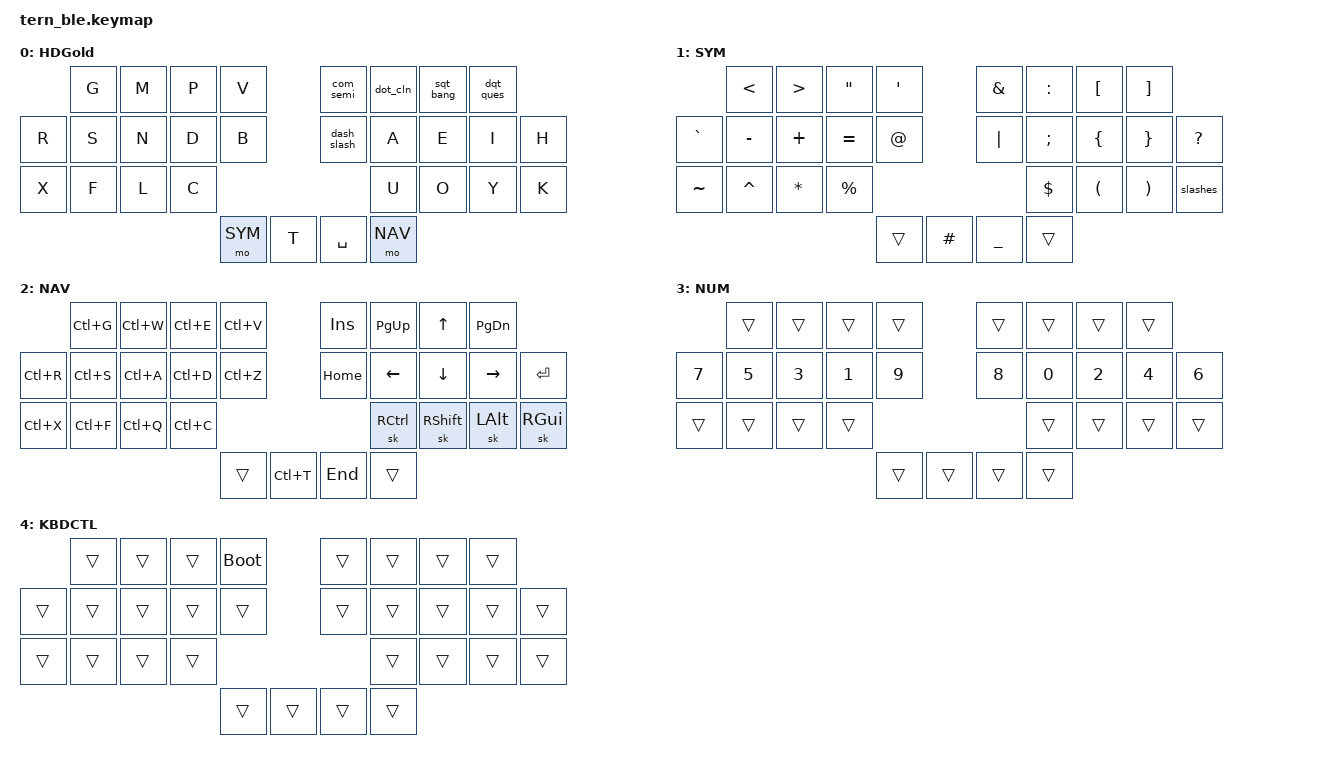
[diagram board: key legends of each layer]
/*
 * Copyright (c) 2024 Allister MacLeod
 *
 * SPDX-License-Identifier: MIT
 */

#include <behaviors.dtsi>
#include <dt-bindings/zmk/keys.h>

#define DEFAULT 0
#define HD_GOLD 0
#define SYM     1
#define NAV     2
#define NUM     3
#define KEEBCTL 4

#include "key-labels-glam/tern.h"
#include "glam-multigraph.dtsi"

// TODO:
// - figure out where to put smart shift or caps word
// - add alt-tab and i3wm shortcuts

/ {
keymap {
  compatible = "zmk,keymap";

  hands_down_layer {
// mostly Hands Down Gold with adjusted punctuation
// Combos for letters: RG->W, XR->Z, UOY->Q, VB->J
// Combos for symbols: ,.->#
// Plus a bunch of digraph and triple combos.
//       ,-----------------------.             ,-----------------------.
// ,-----+  G  |  M  |  P  |  V  |             | , ; | . : | ' ! | " ? +-----.
// |  R  |  S  |  N  |  D  |  B  |             | - / |  A  |  E  |  I  |  H  |
// |  X  |  F  |  L  |  C  +-----'-----. ,-----`-----+  U  |  O  |  Y  |  K  |
// `-----------------------| SYM |  T  | |Space| NAV |-----------------------'
    bindings = <
       &kp G  &kp M  &kp P  &kp V                 &com_semi    &dot_cln  &sqt_bang  &dqt_ques
&kp R  &kp S  &kp N  &kp D  &kp B                 &dash_slash  &kp A     &kp E      &kp I  &kp H
&kp X  &kp F  &kp L  &kp C                                     &kp U     &kp O      &kp Y  &kp K
                            &mo SYM  &kp T   &kp SPACE  &mo NAV
    >;
    display-name = "HDGold";
  };
  symbols_layer {
//       ,-----------------------.             ,-----------------------.
// ,-----+  <  |  >  |  "  |  '  |             |  &  |  :  |  [  |  ]  +-----.
// |  `  |  -  |  +  |  =  |  @  |             |  |  |  ;  |  {  |  }  |  ?  |
// |  ~  |  ^  |  *  |  %  +-----'-----. ,-----`-----+  $  |  (  |  )  | / \ |
// `-----------------------|#####|  #  | |  _  | NUM |-----------------------'
    bindings = <
           &kp LT     &kp GT    &kp DQT      &kp SQT      &kp AMPS  &kp COLON   &kp LBKT  &kp RBKT
&kp GRAVE  &kp MINUS  &kp PLUS  &kp EQUAL    &kp AT       &kp PIPE  &kp SEMI    &kp LBRC  &kp RBRC  &kp QMARK
&kp TILDE  &kp CARET  &kp STAR  &kp PERCENT                         &kp DOLLAR  &kp LPAR  &kp RPAR  &slashes
                                &trans &kp HASH    &kp UNDERSCORE &trans
    >;
    display-name = "SYM";
  };
  navigation_layer {
// I took a few liberties with the control keys on the left middle
// finger, since I find C-w, C-a, and C-q more useful than C-m, C-n,
// and C-l. I figure I can use sticky CTRL or the pinky combo for those.
//       ,-----------------------.             ,-----------------------.
// ,-----+ ^G  | ^W  | ^E  | ^V  |             | Ins | PgU | Up  | PgD +-----.
// | ^R  | ^S  | ^A  | ^D  | ^Z  |             | Home| Left| Down|Right| Ret |
// | ^X  | ^F  | ^Q  | ^C  +-----'-----. ,-----`-----+ Ctl |Shift| Alt | GUI |
// `-----------------------| NUM | ^T  | | End |#####|-----------------------'
    bindings = <
           &kp LC(G)  &kp LC(W)  &kp LC(E)  &kp LC(V)       &kp INS   &kp PG_UP  &kp UP     &kp PG_DN
&kp LC(R)  &kp LC(S)  &kp LC(A)  &kp LC(D)  &kp LC(Z)       &kp HOME  &kp LEFT   &kp DOWN   &kp RIGHT  &kp RET
&kp LC(X)  &kp LC(F)  &kp LC(Q)  &kp LC(C)                            &sk RCTRL  &sk RSHFT  &sk LALT   &sk RGUI
                                       &trans &kp LC(T)   &kp END &trans
    >;
    display-name = "NAV";
  };
  numeric_layer {
// Numeric layer activated conditionally when NAV and SYM are active together.
//       ,-----------------------.             ,-----------------------.
// ,-----+     |     |     |     |             |     |     |     |     +-----.
// |  7  |  5  |  3  |  1  |  9  |             |  8  |  0  |  2  |  4  |  6  |
// |     |     |     |     +-----'-----. ,-----`-----+     |     |     |     |
// `-----------------------|     |     | |     |     |-----------------------'
    bindings = <
        &trans  &trans  &trans  &trans                 &trans  &trans  &trans  &trans
&kp N7  &kp N5  &kp N3  &kp N1  &kp N9                 &kp N8  &kp N0  &kp N2  &kp N4  &kp N6
&trans  &trans  &trans  &trans                                 &trans  &trans  &trans  &trans
                                &trans &trans   &trans &trans
    >;
    display-name = "NUM";
  };
  keyboard_control_layer {
//       ,-----------------------.             ,-----------------------.
// ,-----+     |     |     | DFU |             |     |     |     |     +-----.
// |     |     |     |     |     |             |     |     |     |     |     |
// |     |     |     |     +-----'-----. ,-----`-----+     |     |     |     |
// `-----------------------|     |     | |     |     |-----------------------'
    bindings = <
        &trans  &trans  &trans  &bootloader            &trans  &trans  &trans  &trans
&trans  &trans  &trans  &trans  &trans                 &trans  &trans  &trans  &trans  &trans
&trans  &trans  &trans  &trans                                 &trans  &trans  &trans  &trans
                                &trans &trans   &trans &trans
    >;
    display-name = "KBDCTL";
  };
}; // end keymap

behaviors {
  // Symbol morphs for non-conventional shifting.
  slash_hash: morph_solidus_octothorpe {
    compatible = "zmk,behavior-mod-morph";
    #binding-cells = <0>;
    bindings = <&kp FSLH>, <&kp HASH>;
    mods = <(MOD_LSFT|MOD_RSFT)>;
  };
  dash_slash: morph_hyphen_solidus {
    compatible = "zmk,behavior-mod-morph";
    #binding-cells = <0>;
    bindings = <&kp MINUS>, <&kp FSLH>;
    mods = <(MOD_LSFT|MOD_RSFT)>;
  };
  dot_cln: morph_period_colon {
    compatible = "zmk,behavior-mod-morph";
    #binding-cells = <0>;
    bindings = <&kp DOT>, <&kp COLON>;
    mods = <(MOD_LSFT|MOD_RSFT)>;
  };
  sqt_bang: morph_apostrophe_exclamation {
    compatible = "zmk,behavior-mod-morph";
    #binding-cells = <0>;
    bindings = <&kp SQT>, <&kp EXCL>;
    mods = <(MOD_LSFT|MOD_RSFT)>;
  };
  dqt_ques: morph_quote_question {
    compatible = "zmk,behavior-mod-morph";
    #binding-cells = <0>;
    bindings = <&kp DQT>, <&kp QMARK>;
    mods = <(MOD_LSFT|MOD_RSFT)>;
  };
  com_semi: morph_comma_semicolon {
    compatible = "zmk,behavior-mod-morph";
    #binding-cells = <0>;
    bindings = <&kp COMMA>, <&kp SEMICOLON>;
    mods = <(MOD_LSFT|MOD_RSFT)>;
  };
  minus_plus: morph_hyphen_plus {
    compatible = "zmk,behavior-mod-morph";
    #binding-cells = <0>;
    bindings = <&kp MINUS>, <&kp PLUS>;
    mods = <(MOD_LSFT|MOD_RSFT)>;
  };
  slashes: morph_slash_backslash {
    compatible = "zmk,behavior-mod-morph";
    #binding-cells = <0>;
    bindings = <&kp FSLH>, <&kp BSLH>;
    mods = <(MOD_LSFT|MOD_RSFT)>;
  };
}; // end behaviors

//      0   1   2   3             4   5   6   7
//  8   9  10  11  12            13  14  15  16  17
// 18  19  20  21                    22  23  24  25
//                 26  27    28  29

//     LT3 LT2 LT1 LT0          RT0 RT1 RT2 RT3
// LM4 LM3 LM2 LM1 LM0          RM0 RM1 RM2 RM3 RM4
// LB4 LB3 LB2 LB1                  RB1 RB2 RB3 RB4
//                 LH1 LH0  RH0 RH1

combos {
  compatible = "zmk,combos";

  // All four thumb keys for keyboard control layer.
  combo_thumbs_keyboard_control {
    timeout-ms = <50>;
    key-positions = <LH1 LH0 RH0 RH1>;
    bindings = <&tog KEEBCTL>;
  };
  // Vertical combo left pinky for Z.
  combo_left_pinky_zed {
    timeout-ms = <50>;
    key-positions = <LM4 LB4>;
    bindings = <&kp Z>;
    layers = <HD_GOLD>;
  };
  // Left top ring and pinky mid for W.
  combo_northwest_wubbley {
    timeout-ms = <50>;
    key-positions = <LM4 LT3>;
    bindings = <&kp W>;
    layers = <HD_GOLD>;
  };
  // Vertical combo left pinky for exclamation point, only in symbols layer.
  combo_left_pinky_exclamatiom {
    timeout-ms = <50>;
    key-positions = <LM4 LB4>;
    bindings = <&kp EXCL>;
    layers = <SYM>;
  };
  // Vertical combo left index for J.
  combo_left_index_jay {
    timeout-ms = <50>;
    key-positions = <LT0 LM0>;
    bindings = <&kp J>;
    layers = <HD_GOLD>;
  };
  // Right top row inner two keys for pound sign.
  combo_right_northwest_octothorpe {
    timeout-ms = <50>;
    key-positions = <RT0 RT1>;
    bindings = <&kp HASH>;
    layers = <HD_GOLD>;
  };
  // Vertical combo right index for hyphen and plus.
  combo_right_index_minus_plus {
    timeout-ms = <50>;
    key-positions = <RT0 RM0>;
    bindings = <&minus_plus>;
    layers = <HD_GOLD>;
  };
  // Combo U and Y to produce Qu in Hands Down
  combo_uy_qu {
    timeout-ms = <50>;
    key-positions = <RB1 RB3>;
    bindings = <&squ>;
    layers = <HD_GOLD>;
  };
  // Combo U, O, and Y to produce bare Q in Hands Down.
  combo_uoy_q {
    timeout-ms = <50>;
    key-positions = <RB1 RB2 RB3>;
    bindings = <&kp Q>;
    layers = <HD_GOLD>;
  };
  // Combos for H digraphs in Hands Down.
  combo_sn_sh {
    timeout-ms = <50>;
    key-positions = <LM3 LM2>;
    bindings = <&sdh S>;
    layers = <HD_GOLD>;
  };
  combo_sd_ch {
    timeout-ms = <50>;
    key-positions = <LM3 LM1>;
    bindings = <&sdh C>;
    layers = <HD_GOLD>;
  };
  combo_nd_th {
    timeout-ms = <50>;
    key-positions = <LM2 LM1>;
    bindings = <&sdh T>;
    layers = <HD_GOLD>;
  };
  // This one makes less sense in Hands Down Gold, but I might just be used to it from Hands Down Neu.
  combo_gp_wh {
    timeout-ms = <50>;
    key-positions = <LT3 LT1>;
    bindings = <&sdh W>;
    layers = <HD_GOLD>;
  };
  combo_pm_ph {
    timeout-ms = <50>;
    key-positions = <LT2 LT1>;
    bindings = <&sdh P>;
    layers = <HD_GOLD>;
  };
  combo_gm_gh {
    timeout-ms = <50>;
    key-positions = <LT3 LT2>;
    bindings = <&sdh G>;
    layers = <HD_GOLD>;
  };
  // Combos for trigraphs and 3-letter consonant clusters.
  combo_rsn_sch {
    timeout-ms = <50>;
    key-positions = <LM4 LM3 LM2>;
    bindings = <&stch S>;
    layers = <HD_GOLD>;
  };
  combo_snt_tch {
    timeout-ms = <50>;
    key-positions = <LM3 LM2 LM1>;
    bindings = <&stch T>;
    layers = <HD_GOLD>;
  };
  // Another holdover from Hands Down Neu.
  combo_flc_ght {
    timeout-ms = <50>;
    key-positions = <LB3 LB2 LB1>;
    bindings = <&sght>;
    layers = <HD_GOLD>;
  };
  // Left ring and pinky home-row keys for ctrl.
  combo_west_ctrl {
    timeout-ms = <50>;
    key-positions = <LM4 LM3>;
    bindings = <&kp LCTRL>;
  };
  // Left ring and pinky bottom row keys for shift.
  combo_southwest_shift {
    timeout-ms = <50>;
    key-positions = <LB4 LB3>;
    bindings = <&kp LSHFT>;
  };
  // Left pinky and index for escape.
  combo_left_fork_escape {
    timeout-ms = <50>;
    key-positions = <LM4 LM1>;
    bindings = <&kp ESCAPE>;
  };
  // Left pinky and middle for tab.
  combo_left_prong_tab {
    timeout-ms = <50>;
    key-positions = <LM4 LM2>;
    bindings = <&kp TAB>;
  };
  // Right index and middle in top row for delete.
  combo_top_poke_delete {
    timeout-ms = <50>;
    key-positions = <RT1 RT2>;
    bindings = <&kp DELETE>;
  };
  // Right ring and pinky uppermost keys for backspace.
  combo_northeast_backspace {
    timeout-ms = <50>;
    key-positions = <RT3 RM4>;
    bindings = <&kp BACKSPACE>;
  };
  // Right ring and pinky home-row keys for enter.
  combo_east_enter {
    timeout-ms = <50>;
    key-positions = <RM3 RM4>;
    bindings = <&kp ENTER>;
  };
  // Right ring and pinky bottom row keys for shift.
  combo_southeast_shift {
    timeout-ms = <50>;
    key-positions = <RB3 RB4>;
    bindings = <&kp RSHFT>;
  };

}; // end combos

conditional_layers {
  compatible = "zmk,conditional-layers";
  numeric_momentary {
    if-layers = <SYM NAV>;
    then-layer = <NUM>;
  };
}; // end conditional layers
};

//       ,-----------------------.             ,-----------------------.
// ,-----+     |     |     |     |             |     |     |     |     +-----.
// |     |     |     |     |     |             |     |     |     |     |     |
// |     |     |     |     +-----'-----. ,-----`-----+     |     |     |     |
// `-----------------------|     |     | |     |     |-----------------------'
//     bindings = <
// &trans  &trans  &trans  &trans  &trans                 &trans  &trans  &trans  &trans  &trans
// &trans  &trans  &trans  &trans  &trans                 &trans  &trans  &trans  &trans  &trans
//         &trans  &trans  &trans                                 &trans  &trans  &trans
//                                 &trans &trans   &trans &trans
//     >;
